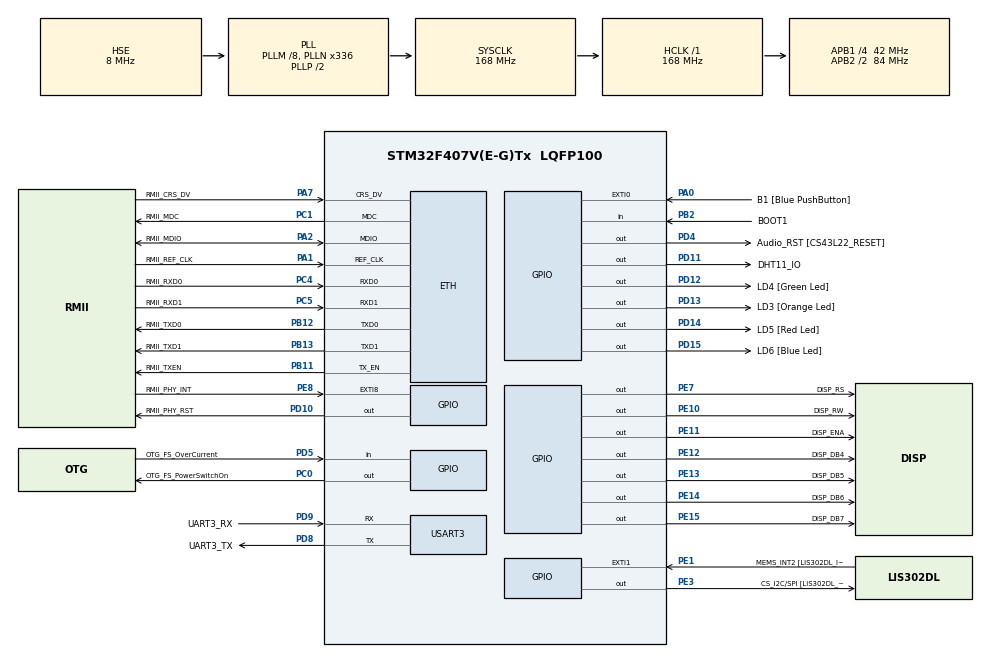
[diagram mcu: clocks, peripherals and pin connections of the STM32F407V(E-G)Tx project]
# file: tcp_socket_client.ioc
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ETH.MACAddr=00\:80\:E1\:00\:44\:12
ETH.MediaInterface=ETH_MEDIA_INTERFACE_RMII
ETH.PHY_Name_RMII=userPHY
ETH.PHY_SR=0x001E
ETH.PHY_User_Name=KSZ8021RNL
ETH.PhyAddress=3
FREERTOS.MEMORY_ALLOCATION=0
FREERTOS.Tasks01=defaultTask,0,256,StartDefaultTask,Default,NULL,Dynamic,NULL,NULL;udpServerTask,-3,2048,StartUdpServerTask,As external,NULL,Dynamic,NULL,NULL;tcpServerTask,-3,2048,StartTcpServerTask,As external,NULL,Dynamic,NULL,NULL;tcpClientTask,-3,2048,StartTcpClientTask,As external,NULL,Dynamic,NULL,NULL
FREERTOS.configMINIMAL_STACK_SIZE=128
FREERTOS.configTOTAL_HEAP_SIZE=80000
LWIP.DNS_DEBUG=LWIP_DBG_OFF
LWIP.GATEWAY_ADDRESS=192.168.000.001
LWIP.IP_ADDRESS=192.168.000.012
LWIP.LWIP_DBG_TYPES_ON=LWIP_DBG_ON
LWIP.LWIP_DHCP=1
LWIP.LWIP_DNS=1
LWIP.MEMP_NUM_TCP_PCB=7
LWIP.NETIF_DEBUG=LWIP_DBG_OFF
LWIP.NETMASK_ADDRESS=255.255.255.000
LWIP.SOCKETS_DEBUG=LWIP_DBG_ON
LWIP.Version=v2.1.2_Cube
Mcu.Family=STM32F4
Mcu.Name=STM32F407V(E-G)Tx
Mcu.Package=LQFP100
NVIC.ETH_IRQn=true\:5\:0\:false\:false\:true\:true\:false\:true\:true
NVIC.EXTI0_IRQn=true\:5\:0\:false\:false\:true\:true\:true\:true\:true
NVIC.EXTI9_5_IRQn=true\:5\:0\:false\:false\:true\:true\:true\:true\:true
NVIC.PriorityGroup=NVIC_PRIORITYGROUP_4
NVIC.TIM1_UP_TIM10_IRQn=true\:0\:0\:false\:false\:true\:false\:false\:true\:true
NVIC.TimeBase=TIM1_UP_TIM10_IRQn
NVIC.TimeBaseIP=TIM1
PA0-WKUP.GPIO_Label=B1 [Blue PushButton]
PA0-WKUP.GPIO_ModeDefaultEXTI=GPIO_MODE_IT_RISING
PA0-WKUP.GPIO_PuPd=GPIO_PULLDOWN
PA0-WKUP.Signal=GPXTI0
PA1.GPIO_Label=RMII_REF_CLK
PA1.Mode=RMII
PA1.Signal=ETH_REF_CLK
PA10.GPIO_Label=OTG_FS_ID
PA10.GPIO_Mode=GPIO_MODE_AF_PP
PA10.GPIO_PuPd=GPIO_NOPULL
PA10.GPIO_Speed=GPIO_SPEED_FREQ_LOW
PA10.Signal=USB_OTG_FS_ID
PA11.GPIO_Label=OTG_FS_DM
PA11.GPIO_Mode=GPIO_MODE_AF_PP
PA11.GPIO_PuPd=GPIO_NOPULL
PA11.GPIO_Speed=GPIO_SPEED_FREQ_LOW
PA11.Signal=USB_OTG_FS_DM
PA12.GPIO_Label=OTG_FS_DP
PA12.GPIO_Mode=GPIO_MODE_AF_PP
PA12.GPIO_PuPd=GPIO_NOPULL
PA12.GPIO_Speed=GPIO_SPEED_FREQ_LOW
PA12.Signal=USB_OTG_FS_DP
PA13.GPIO_Label=SWDIO
PA13.Mode=Serial_Wire
PA13.Signal=SYS_JTMS-SWDIO
PA14.GPIO_Label=SWCLK
PA14.Mode=Serial_Wire
PA14.Signal=SYS_JTCK-SWCLK
PA2.GPIO_Label=RMII_MDIO
PA2.Mode=RMII
PA2.Signal=ETH_MDIO
PA4.GPIO_Label=I2S3_WS [CS43L22_LRCK]
PA4.GPIO_Mode=GPIO_MODE_AF_PP
PA4.GPIO_PuPd=GPIO_NOPULL
PA4.GPIO_Speed=GPIO_SPEED_FREQ_LOW
PA4.Signal=I2S3_WS
PA5.GPIO_Label=SPI1_SCK [LIS302DL_SCL/SPC]
PA5.GPIO_Mode=GPIO_MODE_AF_PP
PA5.GPIO_PuPd=GPIO_NOPULL
PA5.GPIO_Speed=GPIO_SPEED_FREQ_LOW
PA5.Signal=SPI1_SCK
PA6.GPIO_Label=SPI1_MISO [LIS302DL_SDO]
PA6.GPIO_Mode=GPIO_MODE_AF_PP
PA6.GPIO_PuPd=GPIO_NOPULL
PA6.GPIO_Speed=GPIO_SPEED_FREQ_LOW
PA6.Signal=SPI1_MISO
PA7.GPIO_Label=RMII_CRS_DV
PA7.Mode=RMII
PA7.Signal=ETH_CRS_DV
PA9.GPIO_Label=VBUS_FS
PA9.GPIO_Mode=GPIO_MODE_INPUT
PA9.GPIO_PuPd=GPIO_NOPULL
PA9.Signal=USB_OTG_FS_VBUS
PB10.GPIO_Label=CLK_IN [MP45DT02_CLK]
PB10.GPIO_Mode=GPIO_MODE_AF_PP
PB10.GPIO_PuPd=GPIO_NOPULL
PB10.GPIO_Speed=GPIO_SPEED_FREQ_LOW
PB10.Signal=I2S2_CK
PB11.GPIO_Label=RMII_TXEN
PB11.Mode=RMII
PB11.Signal=ETH_TX_EN
PB12.GPIO_Label=RMII_TXD0
PB12.Mode=RMII
PB12.Signal=ETH_TXD0
PB13.GPIO_Label=RMII_TXD1
PB13.Mode=RMII
PB13.Signal=ETH_TXD1
PB2.GPIO_Label=BOOT1
PB2.GPIO_Mode=GPIO_MODE_INPUT
PB2.GPIO_PuPd=GPIO_NOPULL
PB2.Signal=GPIO_Input
PB3.GPIO_Label=SWO
PB3.Signal=SYS_JTDO-SWO
PB6.GPIO_Label=Audio_SCL [CS43L22_SCL]
PB6.GPIO_Mode=GPIO_MODE_AF_OD
PB6.GPIO_PuPd=GPIO_NOPULL
PB6.GPIO_Speed=GPIO_SPEED_FREQ_LOW
PB6.Signal=I2C1_SCL
PB9.GPIO_Label=Audio_SDA [CS43L22_SDA]
PB9.GPIO_Mode=GPIO_MODE_AF_OD
PB9.GPIO_PuPd=GPIO_NOPULL
PB9.GPIO_Speed=GPIO_SPEED_FREQ_LOW
PB9.Signal=I2C1_SDA
PC0.GPIO_Label=OTG_FS_PowerSwitchOn
PC0.GPIO_PuPd=GPIO_NOPULL
PC0.GPIO_Speed=GPIO_SPEED_FREQ_LOW
PC0.PinState=GPIO_PIN_SET
PC0.Signal=GPIO_Output
PC1.GPIO_Label=RMII_MDC
PC1.Mode=RMII
PC1.Signal=ETH_MDC
PC10.GPIO_Label=I2S3_SCK [CS43L22_SCLK]
PC10.GPIO_Mode=GPIO_MODE_AF_PP
PC10.GPIO_PuPd=GPIO_NOPULL
PC10.GPIO_Speed=GPIO_SPEED_FREQ_LOW
PC10.Signal=I2S3_CK
PC12.GPIO_Label=I2S3_SD [CS43L22_SDIN]
PC12.GPIO_Mode=GPIO_MODE_AF_PP
PC12.GPIO_PuPd=GPIO_NOPULL
PC12.GPIO_Speed=GPIO_SPEED_FREQ_LOW
PC12.Signal=I2S3_SD
PC14-OSC32_IN.GPIO_Label=PC14-OSC32_IN
PC14-OSC32_IN.Mode=LSE-External-Oscillator
PC14-OSC32_IN.Signal=RCC_OSC32_IN
PC15-OSC32_OUT.GPIO_Label=PC15-OSC32_OUT
PC15-OSC32_OUT.Mode=LSE-External-Oscillator
PC15-OSC32_OUT.Signal=RCC_OSC32_OUT
PC3.GPIO_Label=PDM_OUT [MP45DT02_DOUT]
PC3.GPIO_Mode=GPIO_MODE_AF_PP
PC3.GPIO_PuPd=GPIO_NOPULL
PC3.GPIO_Speed=GPIO_SPEED_FREQ_LOW
PC3.Signal=I2S2_SD
PC4.GPIO_Label=RMII_RXD0
PC4.Mode=RMII
PC4.Signal=ETH_RXD0
PC5.GPIO_Label=RMII_RXD1
PC5.Mode=RMII
PC5.Signal=ETH_RXD1
PC7.GPIO_Label=I2S3_MCK [CS43L22_MCLK]
PC7.GPIO_Mode=GPIO_MODE_AF_PP
PC7.GPIO_PuPd=GPIO_NOPULL
PC7.GPIO_Speed=GPIO_SPEED_FREQ_LOW
PC7.Signal=I2S3_MCK
PD10.GPIO_Label=RMII_PHY_RST
PD10.Signal=GPIO_Output
PD11.GPIO_Label=DHT11_IO
PD11.Signal=GPIO_Output
PD12.GPIO_Label=LD4 [Green Led]
PD12.GPIO_PuPd=GPIO_NOPULL
PD12.GPIO_Speed=GPIO_SPEED_FREQ_LOW
PD12.Signal=GPIO_Output
PD13.GPIO_Label=LD3 [Orange Led]
PD13.GPIO_PuPd=GPIO_NOPULL
PD13.GPIO_Speed=GPIO_SPEED_FREQ_LOW
PD13.Signal=GPIO_Output
PD14.GPIO_Label=LD5 [Red Led]
PD14.GPIO_PuPd=GPIO_NOPULL
PD14.GPIO_Speed=GPIO_SPEED_FREQ_LOW
PD14.Signal=GPIO_Output
PD15.GPIO_Label=LD6 [Blue Led]
PD15.GPIO_PuPd=GPIO_NOPULL
PD15.GPIO_Speed=GPIO_SPEED_FREQ_LOW
PD15.Signal=GPIO_Output
PD4.GPIO_Label=Audio_RST [CS43L22_RESET]
PD4.GPIO_PuPd=GPIO_NOPULL
PD4.GPIO_Speed=GPIO_SPEED_FREQ_LOW
PD4.Signal=GPIO_Output
PD5.GPIO_Label=OTG_FS_OverCurrent
PD5.GPIO_Mode=GPIO_MODE_INPUT
PD5.GPIO_PuPd=GPIO_NOPULL
PD5.Signal=GPIO_Input
PD8.GPIO_Label=UART3_TX
PD8.Mode=Asynchronous
PD8.Signal=USART3_TX
PD9.GPIO_Label=UART3_RX
PD9.Mode=Asynchronous
PD9.Signal=USART3_RX
PE1.GPIO_Label=MEMS_INT2 [LIS302DL_INT2]
PE1.GPIO_ModeDefaultEXTI=GPIO_MODE_EVT_RISING
PE1.GPIO_PuPd=GPIO_NOPULL
PE1.Signal=GPXTI1
PE10.GPIO_Label=DISP_RW
PE10.GPIO_Speed=GPIO_SPEED_FREQ_LOW
PE10.Signal=GPIO_Output
PE11.GPIO_Label=DISP_ENA
PE11.GPIO_Speed=GPIO_SPEED_FREQ_LOW
PE11.Signal=GPIO_Output
PE12.GPIO_Label=DISP_DB4
PE12.GPIO_Speed=GPIO_SPEED_FREQ_LOW
PE12.Signal=GPIO_Output
PE13.GPIO_Label=DISP_DB5
PE13.GPIO_Speed=GPIO_SPEED_FREQ_LOW
PE13.Signal=GPIO_Output
PE14.GPIO_Label=DISP_DB6
PE14.GPIO_Speed=GPIO_SPEED_FREQ_LOW
PE14.Signal=GPIO_Output
PE15.GPIO_Label=DISP_DB7
PE15.GPIO_Speed=GPIO_SPEED_FREQ_LOW
PE15.Signal=GPIO_Output
PE3.GPIO_Label=CS_I2C/SPI [LIS302DL_CS_I2C/SPI]
PE3.GPIO_PuPd=GPIO_NOPULL
PE3.GPIO_Speed=GPIO_SPEED_FREQ_LOW
PE3.Signal=GPIO_Output
PE7.GPIO_Label=DISP_RS
PE7.Signal=GPIO_Output
PE8.GPIO_Label=RMII_PHY_INT
PE8.GPIO_ModeDefaultEXTI=GPIO_MODE_IT_FALLING
PE8.GPIO_PuPd=GPIO_PULLUP
PE8.Signal=GPXTI8
PH0-OSC_IN.GPIO_Label=PH0-OSC_IN
PH0-OSC_IN.Mode=HSE-External-Oscillator
PH0-OSC_IN.Signal=RCC_OSC_IN
PH1-OSC_OUT.GPIO_Label=PH1-OSC_OUT
PH1-OSC_OUT.Mode=HSE-External-Oscillator
PH1-OSC_OUT.Signal=RCC_OSC_OUT
ProjectManager.HeapSize=0x200
ProjectManager.StackSize=0x400
ProjectManager.TargetToolchain=STM32CubeIDE
RCC.48MHZClocksFreq_Value=48000000
RCC.AHBFreq_Value=168000000
RCC.APB1CLKDivider=RCC_HCLK_DIV4
RCC.APB1Freq_Value=42000000
RCC.APB1TimFreq_Value=84000000
RCC.APB2CLKDivider=RCC_HCLK_DIV2
RCC.APB2Freq_Value=84000000
RCC.APB2TimFreq_Value=168000000
RCC.CortexFreq_Value=168000000
RCC.HCLKFreq_Value=168000000
RCC.HSE_VALUE=8000000
RCC.HSI_VALUE=16000000
RCC.PLLM=8
RCC.PLLN=336
RCC.PLLQ=7
RCC.PLLSourceVirtual=RCC_PLLSOURCE_HSE
RCC.SYSCLKFreq_VALUE=168000000
RCC.SYSCLKSource=RCC_SYSCLKSOURCE_PLLCLK
RCC.VCOOutputFreq_Value=336000000
USART3.VirtualMode=VM_ASYNC
VP_FREERTOS_VS_CMSIS_V1.Mode=CMSIS_V1
VP_LWIP_VS_Enabled.Mode=Enabled
VP_SYS_VS_tim1.Mode=TIM1
board=STM32F407G-DISC1

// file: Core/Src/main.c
/* USER CODE BEGIN Header */
/**
  ******************************************************************************
  * @file           : main.c
  * @brief          : Main program body
  ******************************************************************************
  * @attention
  *
  * <h2><center>&copy; Copyright (c) 2021 STMicroelectronics.
  * All rights reserved.</center></h2>
  *
  * This software component is licensed by ST under Ultimate Liberty license
  * SLA0044, the "License"; You may not use this file except in compliance with
  * the License. You may obtain a copy of the License at:
  *                             www.st.com/SLA0044
  *
  ******************************************************************************
  */
/* USER CODE END Header */
#include "main.h"
#include "cmsis_os.h"
#include "lwip.h"

/* USER CODE BEGIN Includes */
#include <stdio.h>
#include <string.h>
//#include <DHT.h>

#include "dht11.h"
#include "lcd.h"
/* USER CODE END Includes */

/* USER CODE BEGIN PD */
#ifndef DHCP_STATE_BOUND
#define DHCP_STATE_BOUND 10
#endif
/* USER CODE END PD */

UART_HandleTypeDef huart3;

osThreadId defaultTaskHandle;
osThreadId udpServerTaskHandle;
osThreadId tcpServerTaskHandle;
osThreadId tcpClientTaskHandle;
/* USER CODE BEGIN PV */
//DHT_sensor dht11 = {DHT11_IO_GPIO_Port, DHT11_IO_Pin, DHT11, 0};
/* USER CODE END PV */

void SystemClock_Config(void);
static void MX_GPIO_Init(void);
static void MX_USART3_UART_Init(void);
void StartDefaultTask(void const * argument);
extern void StartUdpServerTask(void const * argument);
extern void StartTcpServerTask(void const * argument);
extern void StartTcpClientTask(void const * argument);

/* USER CODE BEGIN 0 */
#if defined(NDEBUG) && defined(USE_SEMIHOST)
#define printf(...)
#endif

#define TRANSMIT_TIMEOUT 5
int __io_putchar(int ch)
{
	HAL_UART_Transmit(&huart3, (uint8_t *)&ch, sizeof(uint8_t), TRANSMIT_TIMEOUT);
	return ch;
}

#ifdef USE_HTTP_SERVER_SOLUTION

#define HTTP_TEMPERATURE_PAGE_TEMPLATE_STR "<html>"\
"<body>"\
"<h2>Temperature: %s &#8451</h2>"\
"</body>"\
"</html>"

#define HTTP_HUMIDITY_PAGE_TEMPLATE_STR "<html>"\
"<body>"\
"<h2>Humidity: %s %%</h2>"\
"</body>"\
"</html>"

http_status_t http_temperature_path_handler(http_buffer_t *out)
{
	printf("http_temperature_path_handler()\n");
	if (out == NULL)
	{
		return HTTP_ERR_FAULT;
	}
	char * content = malloc(256);
	if (content == NULL)
	{
		return HTTP_ERR_FAULT;
	}

#if 0
	char ts[8];
	DHT_data d = DHT_getData(&dht11);
	snprintf(ts, 8, "%02u", (uint8_t)d.temp);
	snprintf(content, 256, HTTP_TEMPERATURE_PAGE_TEMPLATE_STR, ts);
#else
	char temperature[6];
	uint8_t buffer[4];
	dht11_t dht11;
	dht11_init (&dht11, DHT11_IO_GPIO_Port, DHT11_IO_Pin);
	dht_status_t status = dht11_read (&dht11, buffer, sizeof(buffer));
	if (status == DHT_OK)
	{
		dht11_to_str(buffer, sizeof(buffer), NULL, temperature);
		printf("temperature = %s *C\n", temperature);
	}
	else
	{
		printf("dht11_read() error: %u\n", status);
		strncpy(temperature, "--", sizeof(temperature));
	}
	snprintf(content, 256, HTTP_TEMPERATURE_PAGE_TEMPLATE_STR, temperature);
#endif

	int content_len = strlen(content);
	snprintf(out->data, out->length, HTTP_RESPONSE_HEADER_TEMPLATE_STR, HTTP_OK_CODE, HTTP_OK_STR, content_len);
	int header_len = strlen(out->data);
	if(out->length < header_len + content_len)
	{
		free(content);
		return HTTP_ERR_BUF_OVERFLOW;
	}
	strncat(out->data, content, content_len);
	free(content);
	return HTTP_OK;
}

http_status_t http_humidity_path_handler(http_buffer_t *out)
{
	printf("http_humidity_path_handler()\n");
	if (out == NULL)
	{
		return HTTP_ERR_FAULT;
	}
	char * content = malloc(256);
	if (content == NULL)
	{
		return HTTP_ERR_FAULT;
	}
#if 0
	char hs[8];
	DHT_data d = DHT_getData(&dht11);
	snprintf(hs, 8, "%02u", (uint8_t)d.hum);
	snprintf(content, 256, HTTP_HUMIDITY_PAGE_TEMPLATE_STR, hs);
#else
	char humidity[6];
	uint8_t buffer[4];
	dht11_t dht11;
	dht11_init (&dht11, DHT11_IO_GPIO_Port, DHT11_IO_Pin);
	dht_status_t status = dht11_read (&dht11, buffer, sizeof(buffer));
	if (status == DHT_OK)
	{
		dht11_to_str(buffer, sizeof(buffer), humidity, NULL);
		printf("humidity = %s %%\n", humidity);
	}
	else
	{
		printf("dht11_read() error: %u\n", status);
		strncpy(humidity, "--", sizeof(humidity));
	}
	snprintf(content, 256, HTTP_HUMIDITY_PAGE_TEMPLATE_STR, humidity);
#endif

	int content_len = strlen(content);
	snprintf(out->data, out->length, HTTP_RESPONSE_HEADER_TEMPLATE_STR, HTTP_OK_CODE, HTTP_OK_STR, content_len);
	int header_len = strlen(out->data);
	if(out->length < header_len + content_len)
	{
		free(content);
		return HTTP_ERR_BUF_OVERFLOW;
	}
	strncat(out->data, content, content_len);
	free(content);
	return HTTP_OK;
}

void http_led_toggle_handler(bool LED[4])
{
	Led_TypeDef led[4] = {LED3, LED4, LED5, LED6};
	for(size_t i = 0; i < 4; i++)
	{
		if (LED[i])
		{
			BSP_LED_Toggle(led[i]);
		}
	}
}

void http_led_on_handler(bool LED[4])
{
	Led_TypeDef led[4] = {LED3, LED4, LED5, LED6};
	for(size_t i = 0; i < 4; i++)
	{
		if (LED[i])
		{
			BSP_LED_On(led[i]);
		}
	}
}

void http_led_off_handler(bool LED[4])
{
	Led_TypeDef led[4] = {LED3, LED4, LED5, LED6};
	for(size_t i = 0; i < 4; i++)
	{
		if (LED[i])
		{
			BSP_LED_Off(led[i]);
		}
	}
}
#endif/* USE_SOLUTION */

#ifdef USE_UDP_SERVER

uint16_t find_pin_for_led(char led_num){
	switch (led_num){
	case '3': // ORANGE
		return GPIO_PIN_13;
	case '4': // GREEN
		return GPIO_PIN_12;
	case '5': // RED
		return GPIO_PIN_14;
	case '6': // BLUE
		return GPIO_PIN_15;
	}
	return GPIO_PIN_15;
}

void udp_led_on_handler(char led_num){
	HAL_GPIO_WritePin(GPIOD, find_pin_for_led(led_num), GPIO_PIN_SET);
}

void udp_led_off_handler(char led_num){
	HAL_GPIO_WritePin(GPIOD, find_pin_for_led(led_num), GPIO_PIN_RESET);
}

void udp_led_toggle_handler(char led_num){
	HAL_GPIO_TogglePin(GPIOD, find_pin_for_led(led_num));
}

GPIO_PinState udp_led_status_handler(char led_num){
	return HAL_GPIO_ReadPin(GPIOD, find_pin_for_led(led_num));
}
#endif/* USE_UDP_SERVER */

/* USER CODE END 0 */

int main(void)
{

  /* MCU Configuration--------------------------------------------------------*/

  /* Reset of all peripherals, Initializes the Flash interface and the Systick. */
  HAL_Init();

  /* USER CODE BEGIN Init */
  /* Configure LED3, LED4, LED5 and LED6 */
  BSP_LED_Init(LED3);
  BSP_LED_Init(LED4);
  BSP_LED_Init(LED5);
  BSP_LED_Init(LED6);
  /* Initialization of DWT module (cortex-m4)*/
  DWT_Init();
  /* USER CODE END Init */

  /* Configure the system clock */
  SystemClock_Config();

  /* USER CODE BEGIN SysInit */
#if !defined(NDEBUG) && defined(USE_SEMIHOST)
  /* WARNING: to activate semihosting, please, make following changes:
   *
   * 1. Add '-specs=rdimon.specs -lc -lrdimon' to the menu item
   * 	'Properties->C/C++Build->Settings->MCU GCC Linker->Miscellaneous->Other flags'
   *
   * 2. Exclude from Build syscalls.c by selecting
   * 	'Resource Configurations->Exclude from Build' in the context menu of this file
   *
   * 3. Add macros USE_SEMIHOST to the menu item
   * 	'Properties->C/C++Build->Settings->MCU GCC Compiler->Preprocessor'
   * */
  initialise_monitor_handles();
  printf("Semihosting activated\n");
#endif
  /* USER CODE END SysInit */

  /* Initialize all configured peripherals */
  MX_GPIO_Init();
  MX_USART3_UART_Init();
  /* USER CODE BEGIN 2 */
  /* WARNING: if you use minicom as a terminal utility,
   * please, add 'pu addcarreturn Yes' to the file ~/.minirc.dfl
   * to attach '\r' after '\n'
   * */
  printf("USART3 initialized\n");
  NVIC_SetPriorityGrouping(0);

  lcd_init();
  /* Use the LCD_CLR_SCR_CMD command
   * to clear the LCD screen */
  lcd_command_set(LCD_CLR_SCR_CMD);
  lcd_puts("GL Embedded");
  /* Do not forget to set the LCD_LFCR_CMD
   * command when printing more than 16
   * characters because LCD 16x2 is used */
  lcd_command_set(LCD_LFCR_CMD);
  lcd_puts("Starter Kit");
  /* USER CODE END 2 */

  /* Create the thread(s) */
  /* definition and creation of defaultTask */
  osThreadDef(defaultTask, StartDefaultTask, osPriorityNormal, 0, 256);
  defaultTaskHandle = osThreadCreate(osThread(defaultTask), NULL);

  /* definition and creation of udpServerTask */
  osThreadDef(udpServerTask, StartUdpServerTask, osPriorityIdle, 0, 2048);
  udpServerTaskHandle = osThreadCreate(osThread(udpServerTask), NULL);

  /* definition and creation of tcpServerTask */
  osThreadDef(tcpServerTask, StartTcpServerTask, osPriorityIdle, 0, 2048);
  tcpServerTaskHandle = osThreadCreate(osThread(tcpServerTask), NULL);

  /* definition and creation of tcpClientTask */
  osThreadDef(tcpClientTask, StartTcpClientTask, osPriorityIdle, 0, 2048);
  tcpClientTaskHandle = osThreadCreate(osThread(tcpClientTask), NULL);

  /* Start scheduler */
  osKernelStart();

  /* We should never get here as control is now taken by the scheduler */
  /* Infinite loop */
  while (1)
  {

  }
}

void SystemClock_Config(void)
{
  RCC_OscInitTypeDef RCC_OscInitStruct = {0};
  RCC_ClkInitTypeDef RCC_ClkInitStruct = {0};

  /** Configure the main internal regulator output voltage
  */
  __HAL_RCC_PWR_CLK_ENABLE();
  __HAL_PWR_VOLTAGESCALING_CONFIG(PWR_REGULATOR_VOLTAGE_SCALE1);
  /** Initializes the RCC Oscillators according to the specified parameters
  * in the RCC_OscInitTypeDef structure.
  */
  RCC_OscInitStruct.OscillatorType = RCC_OSCILLATORTYPE_HSE;
  RCC_OscInitStruct.HSEState = RCC_HSE_ON;
  RCC_OscInitStruct.PLL.PLLState = RCC_PLL_ON;
  RCC_OscInitStruct.PLL.PLLSource = RCC_PLLSOURCE_HSE;
  RCC_OscInitStruct.PLL.PLLM = 8;
  RCC_OscInitStruct.PLL.PLLN = 336;
  RCC_OscInitStruct.PLL.PLLP = RCC_PLLP_DIV2;
  RCC_OscInitStruct.PLL.PLLQ = 7;
  if (HAL_RCC_OscConfig(&RCC_OscInitStruct) != HAL_OK)
  {
    Error_Handler();
  }
  /** Initializes the CPU, AHB and APB buses clocks
  */
  RCC_ClkInitStruct.ClockType = RCC_CLOCKTYPE_HCLK|RCC_CLOCKTYPE_SYSCLK
                              |RCC_CLOCKTYPE_PCLK1|RCC_CLOCKTYPE_PCLK2;
  RCC_ClkInitStruct.SYSCLKSource = RCC_SYSCLKSOURCE_PLLCLK;
  RCC_ClkInitStruct.AHBCLKDivider = RCC_SYSCLK_DIV1;
  RCC_ClkInitStruct.APB1CLKDivider = RCC_HCLK_DIV4;
  RCC_ClkInitStruct.APB2CLKDivider = RCC_HCLK_DIV2;

  if (HAL_RCC_ClockConfig(&RCC_ClkInitStruct, FLASH_LATENCY_5) != HAL_OK)
  {
    Error_Handler();
  }
}

static void MX_USART3_UART_Init(void)
{

  huart3.Instance = USART3;
  huart3.Init.BaudRate = 115200;
  huart3.Init.WordLength = UART_WORDLENGTH_8B;
  huart3.Init.StopBits = UART_STOPBITS_1;
  huart3.Init.Parity = UART_PARITY_NONE;
  huart3.Init.Mode = UART_MODE_TX_RX;
  huart3.Init.HwFlowCtl = UART_HWCONTROL_NONE;
  huart3.Init.OverSampling = UART_OVERSAMPLING_16;
  if (HAL_UART_Init(&huart3) != HAL_OK)
  {
    Error_Handler();
  }

}

static void MX_GPIO_Init(void)
{
  GPIO_InitTypeDef GPIO_InitStruct = {0};

  /* GPIO Ports Clock Enable */
  __HAL_RCC_GPIOE_CLK_ENABLE();
  __HAL_RCC_GPIOC_CLK_ENABLE();
  __HAL_RCC_GPIOH_CLK_ENABLE();
  __HAL_RCC_GPIOA_CLK_ENABLE();
  __HAL_RCC_GPIOB_CLK_ENABLE();
  __HAL_RCC_GPIOD_CLK_ENABLE();

  /*Configure GPIO pin Output Level */
  HAL_GPIO_WritePin(GPIOE, CS_I2C_SPI_Pin|DISP_RS_Pin|DISP_RW_Pin|DISP_ENA_Pin
                          |DISP_DB4_Pin|DISP_DB5_Pin|DISP_DB6_Pin|DISP_DB7_Pin, GPIO_PIN_RESET);

  /*Configure GPIO pin Output Level */
  HAL_GPIO_WritePin(OTG_FS_PowerSwitchOn_GPIO_Port, OTG_FS_PowerSwitchOn_Pin, GPIO_PIN_SET);

  /*Configure GPIO pin Output Level */
  HAL_GPIO_WritePin(GPIOD, RMII_PHY_RST_Pin|DHT11_IO_Pin|LD4_Pin|LD3_Pin
                          |LD5_Pin|LD6_Pin|Audio_RST_Pin, GPIO_PIN_RESET);

  /*Configure GPIO pins : CS_I2C_SPI_Pin DISP_RS_Pin DISP_RW_Pin DISP_ENA_Pin
                           DISP_DB4_Pin DISP_DB5_Pin DISP_DB6_Pin DISP_DB7_Pin */
  GPIO_InitStruct.Pin = CS_I2C_SPI_Pin|DISP_RS_Pin|DISP_RW_Pin|DISP_ENA_Pin
                          |DISP_DB4_Pin|DISP_DB5_Pin|DISP_DB6_Pin|DISP_DB7_Pin;
  GPIO_InitStruct.Mode = GPIO_MODE_OUTPUT_PP;
  GPIO_InitStruct.Pull = GPIO_NOPULL;
  GPIO_InitStruct.Speed = GPIO_SPEED_FREQ_LOW;
  HAL_GPIO_Init(GPIOE, &GPIO_InitStruct);

  /*Configure GPIO pin : OTG_FS_PowerSwitchOn_Pin */
  GPIO_InitStruct.Pin = OTG_FS_PowerSwitchOn_Pin;
  GPIO_InitStruct.Mode = GPIO_MODE_OUTPUT_PP;
  GPIO_InitStruct.Pull = GPIO_NOPULL;
  GPIO_InitStruct.Speed = GPIO_SPEED_FREQ_LOW;
  HAL_GPIO_Init(OTG_FS_PowerSwitchOn_GPIO_Port, &GPIO_InitStruct);

  /*Configure GPIO pin : PDM_OUT_Pin */
  GPIO_InitStruct.Pin = PDM_OUT_Pin;
  GPIO_InitStruct.Mode = GPIO_MODE_AF_PP;
  GPIO_InitStruct.Pull = GPIO_NOPULL;
  GPIO_InitStruct.Speed = GPIO_SPEED_FREQ_LOW;
  GPIO_InitStruct.Alternate = GPIO_AF5_SPI2;
  HAL_GPIO_Init(PDM_OUT_GPIO_Port, &GPIO_InitStruct);

  /*Configure GPIO pin : B1_Pin */
  GPIO_InitStruct.Pin = B1_Pin;
  GPIO_InitStruct.Mode = GPIO_MODE_IT_RISING;
  GPIO_InitStruct.Pull = GPIO_PULLDOWN;
  HAL_GPIO_Init(B1_GPIO_Port, &GPIO_InitStruct);

  /*Configure GPIO pin : I2S3_WS_Pin */
  GPIO_InitStruct.Pin = I2S3_WS_Pin;
  GPIO_InitStruct.Mode = GPIO_MODE_AF_PP;
  GPIO_InitStruct.Pull = GPIO_NOPULL;
  GPIO_InitStruct.Speed = GPIO_SPEED_FREQ_LOW;
  GPIO_InitStruct.Alternate = GPIO_AF6_SPI3;
  HAL_GPIO_Init(I2S3_WS_GPIO_Port, &GPIO_InitStruct);

  /*Configure GPIO pins : SPI1_SCK_Pin SPI1_MISO_Pin */
  GPIO_InitStruct.Pin = SPI1_SCK_Pin|SPI1_MISO_Pin;
  GPIO_InitStruct.Mode = GPIO_MODE_AF_PP;
  GPIO_InitStruct.Pull = GPIO_NOPULL;
  GPIO_InitStruct.Speed = GPIO_SPEED_FREQ_LOW;
  GPIO_InitStruct.Alternate = GPIO_AF5_SPI1;
  HAL_GPIO_Init(GPIOA, &GPIO_InitStruct);

  /*Configure GPIO pin : BOOT1_Pin */
  GPIO_InitStruct.Pin = BOOT1_Pin;
  GPIO_InitStruct.Mode = GPIO_MODE_INPUT;
  GPIO_InitStruct.Pull = GPIO_NOPULL;
  HAL_GPIO_Init(BOOT1_GPIO_Port, &GPIO_InitStruct);

  /*Configure GPIO pin : RMII_PHY_INT_Pin */
  GPIO_InitStruct.Pin = RMII_PHY_INT_Pin;
  GPIO_InitStruct.Mode = GPIO_MODE_IT_FALLING;
  GPIO_InitStruct.Pull = GPIO_PULLUP;
  HAL_GPIO_Init(RMII_PHY_INT_GPIO_Port, &GPIO_InitStruct);

  /*Configure GPIO pin : CLK_IN_Pin */
  GPIO_InitStruct.Pin = CLK_IN_Pin;
  GPIO_InitStruct.Mode = GPIO_MODE_AF_PP;
  GPIO_InitStruct.Pull = GPIO_NOPULL;
  GPIO_InitStruct.Speed = GPIO_SPEED_FREQ_LOW;
  GPIO_InitStruct.Alternate = GPIO_AF5_SPI2;
  HAL_GPIO_Init(CLK_IN_GPIO_Port, &GPIO_InitStruct);

  /*Configure GPIO pins : RMII_PHY_RST_Pin DHT11_IO_Pin LD4_Pin LD3_Pin
                           LD5_Pin LD6_Pin Audio_RST_Pin */
  GPIO_InitStruct.Pin = RMII_PHY_RST_Pin|DHT11_IO_Pin|LD4_Pin|LD3_Pin
                          |LD5_Pin|LD6_Pin|Audio_RST_Pin;
  GPIO_InitStruct.Mode = GPIO_MODE_OUTPUT_PP;
  GPIO_InitStruct.Pull = GPIO_NOPULL;
  GPIO_InitStruct.Speed = GPIO_SPEED_FREQ_LOW;
  HAL_GPIO_Init(GPIOD, &GPIO_InitStruct);

  /*Configure GPIO pins : I2S3_MCK_Pin I2S3_SCK_Pin I2S3_SD_Pin */
  GPIO_InitStruct.Pin = I2S3_MCK_Pin|I2S3_SCK_Pin|I2S3_SD_Pin;
  GPIO_InitStruct.Mode = GPIO_MODE_AF_PP;
  GPIO_InitStruct.Pull = GPIO_NOPULL;
  GPIO_InitStruct.Speed = GPIO_SPEED_FREQ_LOW;
  GPIO_InitStruct.Alternate = GPIO_AF6_SPI3;
  HAL_GPIO_Init(GPIOC, &GPIO_InitStruct);

  /*Configure GPIO pin : VBUS_FS_Pin */
  GPIO_InitStruct.Pin = VBUS_FS_Pin;
  GPIO_InitStruct.Mode = GPIO_MODE_INPUT;
  GPIO_InitStruct.Pull = GPIO_NOPULL;
  HAL_GPIO_Init(VBUS_FS_GPIO_Port, &GPIO_InitStruct);

  /*Configure GPIO pins : OTG_FS_ID_Pin OTG_FS_DM_Pin OTG_FS_DP_Pin */
  GPIO_InitStruct.Pin = OTG_FS_ID_Pin|OTG_FS_DM_Pin|OTG_FS_DP_Pin;
  GPIO_InitStruct.Mode = GPIO_MODE_AF_PP;
  GPIO_InitStruct.Pull = GPIO_NOPULL;
  GPIO_InitStruct.Speed = GPIO_SPEED_FREQ_LOW;
  GPIO_InitStruct.Alternate = GPIO_AF10_OTG_FS;
  HAL_GPIO_Init(GPIOA, &GPIO_InitStruct);

  /*Configure GPIO pin : OTG_FS_OverCurrent_Pin */
  GPIO_InitStruct.Pin = OTG_FS_OverCurrent_Pin;
  GPIO_InitStruct.Mode = GPIO_MODE_INPUT;
  GPIO_InitStruct.Pull = GPIO_NOPULL;
  HAL_GPIO_Init(OTG_FS_OverCurrent_GPIO_Port, &GPIO_InitStruct);

  /*Configure GPIO pins : Audio_SCL_Pin Audio_SDA_Pin */
  GPIO_InitStruct.Pin = Audio_SCL_Pin|Audio_SDA_Pin;
  GPIO_InitStruct.Mode = GPIO_MODE_AF_OD;
  GPIO_InitStruct.Pull = GPIO_PULLUP;
  GPIO_InitStruct.Speed = GPIO_SPEED_FREQ_LOW;
  GPIO_InitStruct.Alternate = GPIO_AF4_I2C1;
  HAL_GPIO_Init(GPIOB, &GPIO_InitStruct);

  /*Configure GPIO pin : MEMS_INT2_Pin */
  GPIO_InitStruct.Pin = MEMS_INT2_Pin;
  GPIO_InitStruct.Mode = GPIO_MODE_EVT_RISING;
  GPIO_InitStruct.Pull = GPIO_NOPULL;
  HAL_GPIO_Init(MEMS_INT2_GPIO_Port, &GPIO_InitStruct);

  /* EXTI interrupt init*/
  HAL_NVIC_SetPriority(EXTI0_IRQn, 5, 0);
  HAL_NVIC_EnableIRQ(EXTI0_IRQn);

  HAL_NVIC_SetPriority(EXTI9_5_IRQn, 5, 0);
  HAL_NVIC_EnableIRQ(EXTI9_5_IRQn);

}

/* USER CODE BEGIN 4 */
void HAL_GPIO_EXTI_Callback(uint16_t GPIO_Pin)
{
	if (GPIO_Pin == B1_Pin)
	{
		if (HAL_GPIO_ReadPin(B1_GPIO_Port, B1_Pin) == GPIO_PIN_SET)
		{
			printf("The blue button is pushed\n");
			BSP_LED_Toggle(GREEN);
			osSignalSet (tcpClientTaskHandle, SIGNAL_PUSH_BUTTON);
		}
	}
	else if (GPIO_Pin == RMII_PHY_INT_Pin)
	{
        /* Get the IT status register value */
        ethernetif_phy_irq();
	}
}
/* USER CODE END 4 */

void StartDefaultTask(void const * argument)
{
  /* init code for LWIP */
  MX_LWIP_Init();
  /* USER CODE BEGIN 5 */
  struct dhcp *dhcp;
  char msg[16];
  bool dhcp_bound_flag = false;
  uint32_t offered_ip = 0;
  /* Infinite loop */
  for(;;)
  {
	  dhcp = netif_dhcp_data(lwip_get_netif());

	  if (dhcp->state == DHCP_STATE_BOUND && !dhcp_bound_flag)
	  {
		  dhcp_bound_flag = true;
		  lcd_command_set(LCD_CLR_SCR_CMD);
		  lcd_puts("DHCP IP address:");
		  lcd_command_set(LCD_LFCR_CMD);
		  offered_ip = ip4_addr_get_u32(&dhcp->offered_ip_addr);
		  snprintf(msg, sizeof(msg), "%03lu.%03lu.%03lu.%03lu",
				  (offered_ip)&0xFF,  (offered_ip >> 8)&0xFF, (offered_ip >> 16)&0xFF, (offered_ip >> 24)&0xFF);
		  lcd_puts(msg);
	  }

//	  BSP_LED_Toggle(BLUE);
	  osDelay(1000);
  }
  /* USER CODE END 5 */
}

 /**
  * @brief  Period elapsed callback in non blocking mode
  * @note   This function is called  when TIM1 interrupt took place, inside
  * HAL_TIM_IRQHandler(). It makes a direct call to HAL_IncTick() to increment
  * a global variable "uwTick" used as application time base.
  * @param  htim : TIM handle
  * @retval None
  */
void HAL_TIM_PeriodElapsedCallback(TIM_HandleTypeDef *htim)
{
  if (htim->Instance == TIM1) {
    HAL_IncTick();
  }
}

void Error_Handler(void)
{
  __disable_irq();
  while (1)
  {
  }
}

#ifdef  USE_FULL_ASSERT
/**
  * @brief  Reports the name of the source file and the source line number
  *         where the assert_param error has occurred.
  * @param  file: pointer to the source file name
  * @param  line: assert_param error line source number
  * @retval None
  */
void assert_failed(uint8_t *file, uint32_t line)
{
  /* USER CODE BEGIN 6 */
  /* User can add his own implementation to report the file name and line number,
     ex: printf("Wrong parameters value: file %s on line %d\r\n", file, line) */
	printf("Wrong parameters value: file %s on line %d\r\n", file, line)
  /* USER CODE END 6 */
}
#endif /* USE_FULL_ASSERT */

/************************ (C) COPYRIGHT STMicroelectronics *****END OF FILE****/
